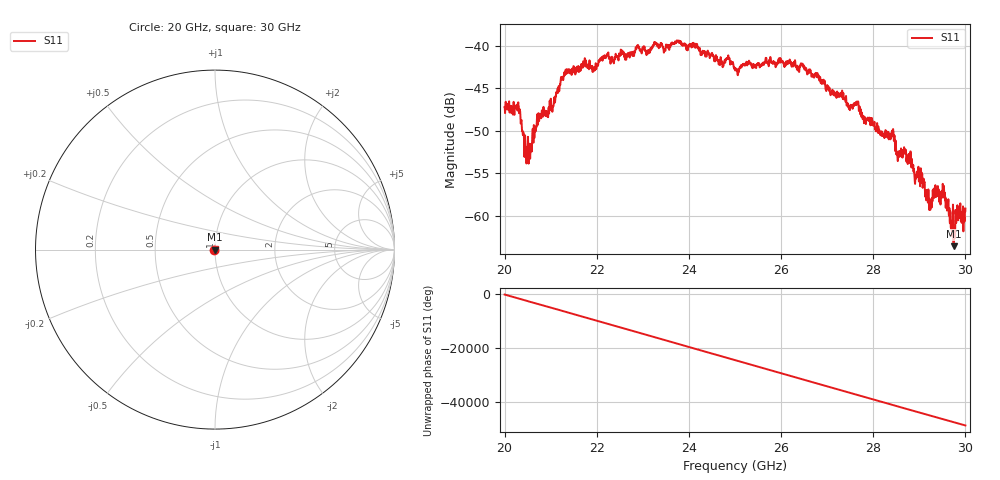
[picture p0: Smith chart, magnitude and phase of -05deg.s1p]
#  HZ  S  RI  R  50.00
! Rohde & Schwarz ZVA40 4Ports - Version 3.90 - 1145.1110k42 SN: 100403
! Date: 2023-10-03 11:32:32
! Measurement: S12
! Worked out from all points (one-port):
!   5001 points, 20 GHz to 30 GHz, reference 50 ohm
!   lowest |S11| = -63.6 dB at 29.74 GHz (marker M1), VSWR 1.00, Z = 50 - j0.0529 ohm
!   |S11| at or under -10 dB: start of sweep to end of sweep
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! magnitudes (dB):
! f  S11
! 20 GHz  -47.2
! 20.29 GHz  -46.8
! 20.45 GHz  -50.7
! 20.52 GHz  -53.7
! 20.74 GHz  -48.5
! 21.06 GHz  -47.1
! 21.25 GHz  -43.8
! 21.72 GHz  -41.9
! 21.92 GHz  -42.6
! 22.21 GHz  -41.3
! 22.5 GHz  -41.0
! 23.75 GHz  -39.5
! 24.84 GHz  -41.6
! 25 GHz  -42.8
! 26.25 GHz  -42.1
! 26.77 GHz  -43.7
! 27.5 GHz  -47.4
! 27.63 GHz  -46.9
! 27.81 GHz  -48.4
! 28.42 GHz  -50.4
! 28.54 GHz  -52.4
! 28.75 GHz  -53.8
! 29.07 GHz  -56.7
! 29.22 GHz  -58.5
! 29.52 GHz  -57.5
! 29.74 GHz  -63.6
! 29.84 GHz  -59.8
! 30 GHz  -59.2
